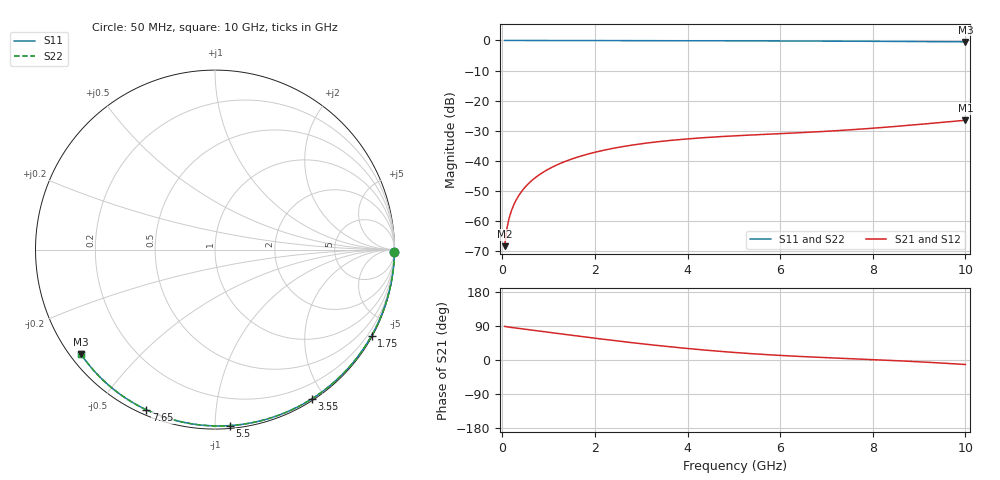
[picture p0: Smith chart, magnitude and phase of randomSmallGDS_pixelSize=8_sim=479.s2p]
! freq	dB(S11)	phase(S11)	dB(S12)	phase(S12)
!  dB(S21)	phase(S21)	dB(S22)	phase(S22)
!S-par simulation data
#  GHz  S  DB  R 50
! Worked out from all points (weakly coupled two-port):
!   200 points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, 50 MHz to 10 GHz, reference 50 ohm
!   highest |S21| = -26.50 dB at 10 GHz (marker M1); lowest = -68.3 dB at 50 MHz (marker M2)
!   lowest |S11| = -0.5 dB at 10 GHz (marker M3), VSWR 36.71, Z = 1.52 - j17.1 ohm
!   |S11| at or under -10 dB: nowhere
!   |S22| runs from -0.5 to 0.0 dB; largest |S21 - S12| = 0
!   S11 on the Smith chart (normalised r, x): 50 MHz: open; 1.75 GHz: 0.03, -3.89; 3.55 GHz: 0.02, -1.84; 5.5 GHz: 0.02, -1.09; 7.65 GHz: 0.02, -0.66; 10 GHz: 0.03, -0.34
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0.05  -0.00 -0.8  -68.31 88.7  -68.31 88.7  -0.00 -0.8
0.1  -0.00 -1.7  -62.34 87.5  -62.34 87.5  -0.00 -1.7
0.15  -0.00 -2.5  -58.87 86.6  -58.87 86.6  -0.00 -2.5
0.2  -0.00 -3.4  -56.42 85.8  -56.42 85.8  -0.00 -3.4
0.25  -0.00 -4.2  -54.51 85.0  -54.51 85.0  -0.00 -4.2
0.35  -0.00 -5.9  -51.63 83.5  -51.63 83.5  -0.00 -5.9
0.5  -0.01 -8.4  -48.58 81.1  -48.58 81.1  -0.01 -8.4
0.7  -0.01 -11.7  -45.71 78.0  -45.71 78.0  -0.01 -11.7
1  -0.02 -16.6  -42.69 73.2  -42.69 73.2  -0.02 -16.6
1.35  -0.03 -22.4  -40.22 67.6  -40.22 67.6  -0.03 -22.4
1.75  -0.04 -28.9  -38.15 61.3  -38.15 61.3  -0.04 -28.8
2.5  -0.05 -40.8  -35.52 50.1  -35.52 50.1  -0.05 -40.8
3.4  -0.07 -54.7  -33.56 37.7  -33.56 37.7  -0.07 -54.7
3.55  -0.08 -57.0  -33.31 35.8  -33.31 35.8  -0.08 -57.0
4.3  -0.10 -68.1  -32.34 27.0  -32.34 27.0  -0.10 -68.1
5.05  -0.12 -78.8  -31.64 19.5  -31.64 19.5  -0.12 -78.8
5.5  -0.14 -85.1  -31.30 15.7  -31.30 15.7  -0.14 -85.0
6.7  -0.20 -101.1  -30.41 7.8  -30.41 7.8  -0.20 -101.0
7.65  -0.26 -113.2  -29.53 2.9  -29.53 2.9  -0.25 -113.2
8.35  -0.31 -122.0  -28.72 -0.8  -28.72 -0.8  -0.31 -121.9
9.2  -0.39 -132.4  -27.61 -6.1  -27.61 -6.1  -0.39 -132.3
10  -0.47 -142.1  -26.50 -11.8  -26.50 -11.8  -0.47 -142.0
